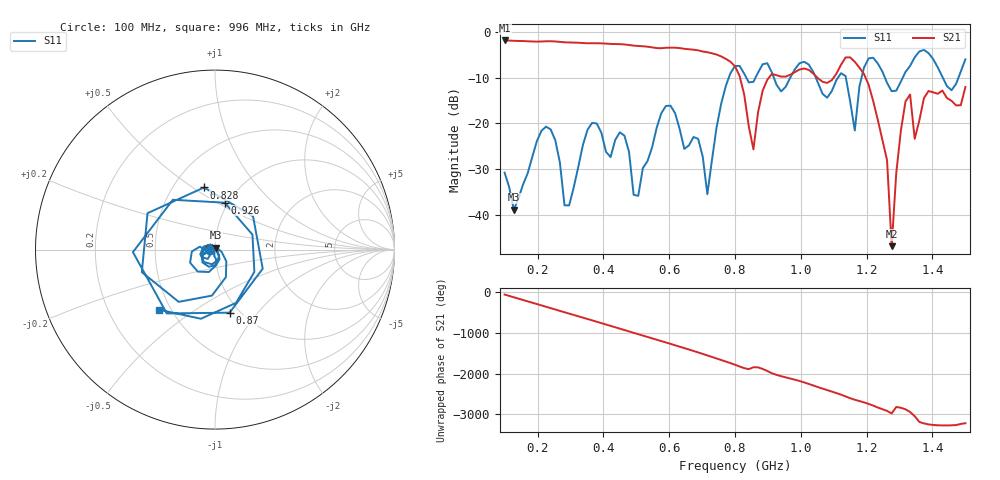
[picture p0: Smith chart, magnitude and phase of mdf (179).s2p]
! NanoVNA-App
! Date: 2025-09-25 15:39:49
! Start: 100MHz Stop: 1,5GHz Points: 101
! S-Parameter data: F S11 S21 S12 S22
# Hz S RI R 50
!  Frequency  S11_Real  S11_Imag  S21_Real  S21_Imag  S12_Real  S12_Imag  S22_Real  S22_Imag
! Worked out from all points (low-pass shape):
!   101 points, 100 MHz to 1.5 GHz, reference 50 ohm
!   highest |S21| = -1.80 dB at 100 MHz (marker M1); lowest = -46.9 dB at 1.276 GHz (marker M2)
!   |S21| within 3 dB of the highest: start of sweep to 739.3 MHz
!   lowest |S11| = -38.9 dB at 128 MHz (marker M3), VSWR 1.02, Z = 50.3 + j1.08 ohm
!   |S11| at or under -10 dB: start of sweep to 781 MHz; 1.046 GHz to 1.113 GHz (66.98 MHz wide, 6.21 % of centre); 1.256 GHz to 1.309 GHz (53.69 MHz wide, 4.19 % of centre) (the widest 3 of 7)
!   S12 and S22 are empty: the file has one direction only
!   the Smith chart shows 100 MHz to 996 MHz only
!   S11 on the Smith chart (normalised r, x): 100 MHz: 0.94, -0.01; 828 MHz: 0.70, +0.56; 870 MHz: 0.90, -0.73; 926 MHz: 0.97, +0.54; 996 MHz: 0.43, -0.37
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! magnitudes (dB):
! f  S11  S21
! 100 MHz  -30.8  -1.8
! 128 MHz  -38.9  -1.9
! 212 MHz  -21.6  -2.0
! 282 MHz  -37.9  -2.2
! 338 MHz  -24.7  -2.4
! 464 MHz  -22.7  -2.7
! 506 MHz  -35.9  -3.0
! 576 MHz  -17.8  -3.5
! 716 MHz  -35.5  -4.4
! 800 MHz  -7.4  -7.5
! 828 MHz  -9.1  -13.7
! 856 MHz  -10.9  -25.7
! 870 MHz  -8.9  -17.5
! 926 MHz  -11.5  -9.4
! 996 MHz  -6.8  -8.2
! 1.038 GHz  -8.7  -9.1
! 1.164 GHz  -21.5  -6.5
! 1.192 GHz  -7.7  -9.2
! 1.262 GHz  -11.1  -28.0
! 1.276 GHz  -12.9  -46.9
! 1.318 GHz  -8.7  -15.2
! 1.5 GHz  -5.9  -12.0
